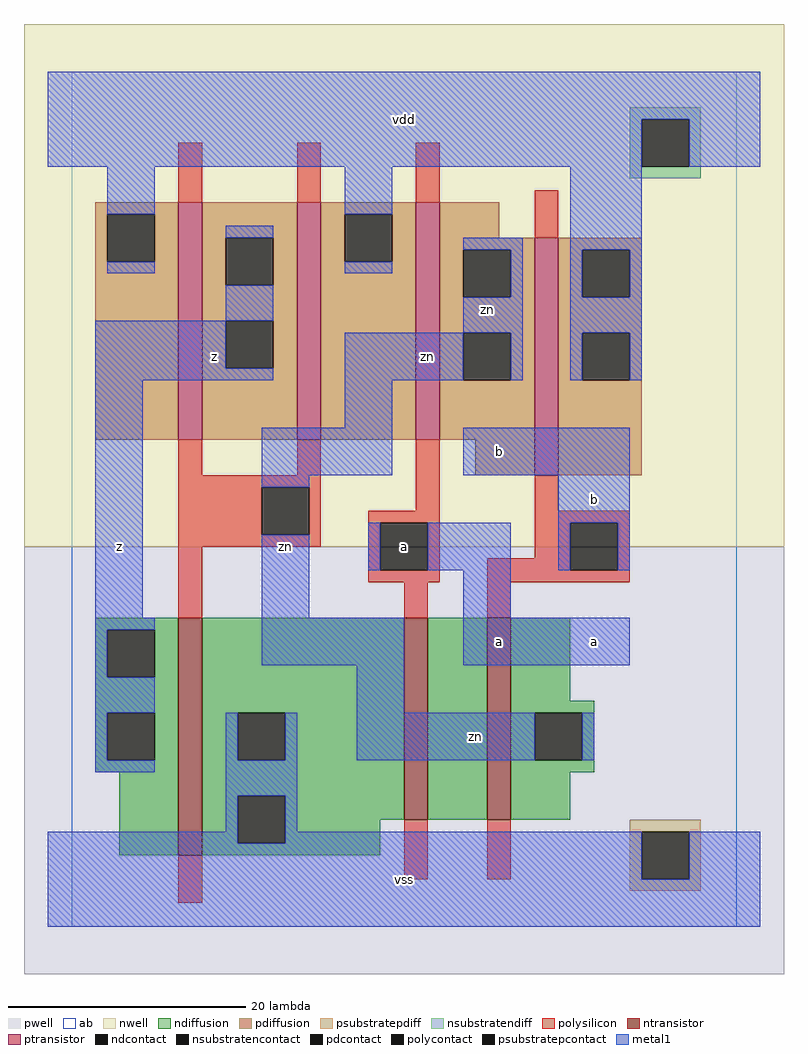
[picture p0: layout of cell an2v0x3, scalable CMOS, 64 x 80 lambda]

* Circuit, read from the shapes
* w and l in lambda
.subckt an2v0x3 a b vdd vss z zn
M1 vss zn z vss nfet w=20 l=2
M2 n1 a vss vss nfet w=17 l=2
M3 zn b n1 vss nfet w=17 l=2
M4 z zn vdd vdd pfet w=20 l=2 m=2
M5 zn a vdd vdd pfet w=20 l=2
M6 vdd b zn vdd pfet w=20 l=2
.ends

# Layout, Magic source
magic
tech scmos
<< ab >>
rect 0 0 56 72
<< pwell >>
rect -4 -4 60 32
<< nwell >>
rect -4 32 60 76
<< polysilicon >>
rect 9 61 11 66
rect 19 61 21 66
rect 29 61 31 66
rect 39 58 41 62
rect 9 38 11 41
rect 19 38 21 41
rect 9 37 21 38
rect 9 33 16 37
rect 20 33 21 37
rect 29 35 31 41
rect 9 32 21 33
rect 25 34 31 35
rect 9 26 11 32
rect 25 30 26 34
rect 30 30 31 34
rect 39 35 41 38
rect 39 34 47 35
rect 39 31 42 34
rect 25 29 31 30
rect 35 30 42 31
rect 46 30 47 34
rect 35 29 47 30
rect 28 26 30 29
rect 35 26 37 29
rect 9 2 11 6
rect 28 4 30 9
rect 35 4 37 9
<< ndiffusion >>
rect 2 25 9 26
rect 2 21 3 25
rect 7 21 9 25
rect 2 18 9 21
rect 2 14 3 18
rect 7 14 9 18
rect 2 13 9 14
rect 4 6 9 13
rect 11 18 28 26
rect 11 14 14 18
rect 18 14 28 18
rect 11 11 28 14
rect 11 7 14 11
rect 18 9 28 11
rect 30 9 35 26
rect 37 19 42 26
rect 37 18 44 19
rect 37 14 39 18
rect 43 14 44 18
rect 37 13 44 14
rect 37 9 42 13
rect 18 7 26 9
rect 11 6 26 7
<< pdiffusion >>
rect 2 60 9 61
rect 2 56 3 60
rect 7 56 9 60
rect 2 41 9 56
rect 11 58 19 61
rect 11 54 13 58
rect 17 54 19 58
rect 11 51 19 54
rect 11 47 13 51
rect 17 47 19 51
rect 11 41 19 47
rect 21 60 29 61
rect 21 56 23 60
rect 27 56 29 60
rect 21 41 29 56
rect 31 58 36 61
rect 31 57 39 58
rect 31 53 33 57
rect 37 53 39 57
rect 31 50 39 53
rect 31 46 33 50
rect 37 46 39 50
rect 31 41 39 46
rect 34 38 39 41
rect 41 57 48 58
rect 41 53 43 57
rect 47 53 48 57
rect 41 50 48 53
rect 41 46 43 50
rect 47 46 48 50
rect 41 38 48 46
<< metal1 >>
rect -2 68 58 72
rect -2 64 48 68
rect 52 64 58 68
rect 3 60 7 64
rect 23 60 27 64
rect 3 55 7 56
rect 13 58 17 59
rect 23 55 27 56
rect 33 57 38 58
rect 13 51 17 54
rect 2 47 13 51
rect 37 53 38 57
rect 33 50 38 53
rect 2 46 17 47
rect 23 46 33 50
rect 37 46 38 50
rect 42 57 48 64
rect 42 53 43 57
rect 47 53 48 57
rect 42 50 48 53
rect 42 46 43 50
rect 47 46 48 50
rect 2 26 6 46
rect 23 42 27 46
rect 16 38 27 42
rect 33 38 47 42
rect 16 37 20 38
rect 41 34 47 38
rect 16 26 20 33
rect 25 30 26 34
rect 30 30 37 34
rect 41 30 42 34
rect 46 30 47 34
rect 33 26 37 30
rect 2 25 7 26
rect 2 21 3 25
rect 16 22 28 26
rect 33 22 47 26
rect 2 18 7 21
rect 24 18 28 22
rect 2 14 3 18
rect 2 13 7 14
rect 13 14 14 18
rect 18 14 19 18
rect 24 14 39 18
rect 43 14 44 18
rect 13 11 19 14
rect 13 8 14 11
rect -2 7 14 8
rect 18 8 19 11
rect 18 7 48 8
rect -2 4 48 7
rect 52 4 58 8
rect -2 0 58 4
<< ntransistor >>
rect 9 6 11 26
rect 28 9 30 26
rect 35 9 37 26
<< ptransistor >>
rect 9 41 11 61
rect 19 41 21 61
rect 29 41 31 61
rect 39 38 41 58
<< polycontact >>
rect 16 33 20 37
rect 26 30 30 34
rect 42 30 46 34
<< ndcontact >>
rect 3 21 7 25
rect 3 14 7 18
rect 14 14 18 18
rect 14 7 18 11
rect 39 14 43 18
<< pdcontact >>
rect 3 56 7 60
rect 13 54 17 58
rect 13 47 17 51
rect 23 56 27 60
rect 33 53 37 57
rect 33 46 37 50
rect 43 53 47 57
rect 43 46 47 50
<< psubstratepcontact >>
rect 48 4 52 8
<< nsubstratencontact >>
rect 48 64 52 68
<< psubstratepdiff >>
rect 47 8 53 9
rect 47 4 48 8
rect 52 4 53 8
rect 47 3 53 4
<< nsubstratendiff >>
rect 47 68 53 69
rect 47 64 48 68
rect 52 64 53 68
rect 47 63 53 64
<< labels >>
rlabel metal1 4 32 4 32 6 z
rlabel metal1 18 32 18 32 6 zn
rlabel metal1 12 48 12 48 6 z
rlabel metal1 28 4 28 4 6 vss
rlabel polycontact 28 32 28 32 6 a
rlabel metal1 36 24 36 24 6 a
rlabel metal1 36 40 36 40 6 b
rlabel metal1 30 48 30 48 6 zn
rlabel metal1 35 52 35 52 6 zn
rlabel metal1 28 68 28 68 6 vdd
rlabel metal1 34 16 34 16 6 zn
rlabel metal1 44 24 44 24 6 a
rlabel metal1 44 36 44 36 6 b
<< end >>
